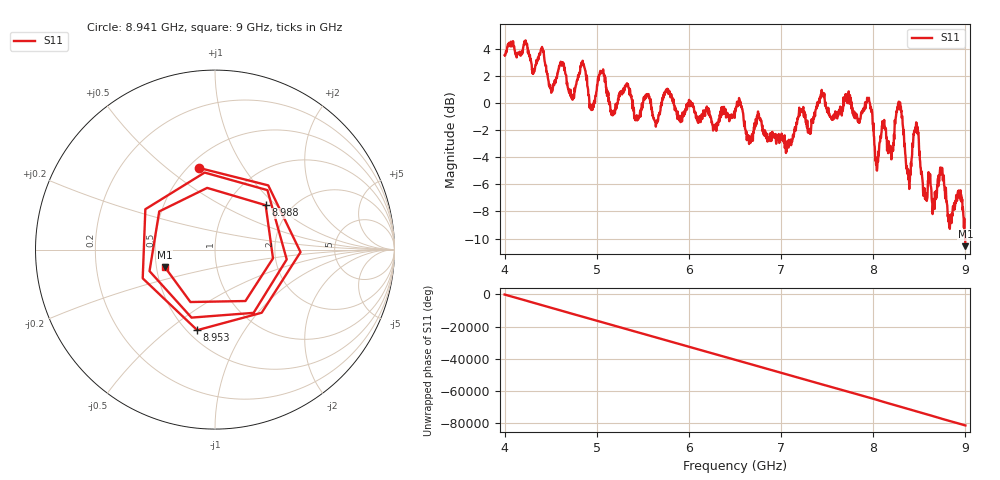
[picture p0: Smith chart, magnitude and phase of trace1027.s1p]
! Created with skrf 1.8.0 (http://scikit-rf.org).
# Hz S RI R 50.0
!freq ReS11 ImS11
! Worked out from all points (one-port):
!   1601 points, 4 GHz to 9 GHz, reference 50 ohm
!   lowest |S11| = -10.6 dB at 9 GHz (marker M1), VSWR 1.84, Z = 27.7 - j5.84 ohm
!   |S11| at or under -10 dB: 8.997703 GHz to end of sweep
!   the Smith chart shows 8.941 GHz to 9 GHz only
!   S11 on the Smith chart (normalised r, x): 8.941 GHz: 0.57, +0.65; 8.953 GHz: 0.56, -0.64; 8.988 GHz: 1.49, +0.86; 9 GHz: 0.55, -0.12
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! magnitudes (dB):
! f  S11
! 4 GHz  3.6
! 4.403 GHz  4.0
! 4.506 GHz  0.8
! 4.625 GHz  3.0
! 4.731 GHz  0.6
! 4.853 GHz  3.0
! 4.944 GHz  -0.5
! 5.047 GHz  2.2
! 5.172 GHz  -0.8
! 5.25 GHz  0.5
! 5.875 GHz  -1.2
! 6.5 GHz  -0.5
! 7.125 GHz  -2.7
! 7.447 GHz  0.7
! 7.75 GHz  0.0
! 7.959 GHz  0.1
! 8.038 GHz  -5.0
! 8.197 GHz  -4.1
! 8.288 GHz  -0.2
! 8.375 GHz  -5.2
! 8.466 GHz  -1.4
! 8.562 GHz  -7.1
! 8.744 GHz  -4.8
! 8.834 GHz  -8.8
! 8.941 GHz  -6.7
! 8.953 GHz  -6.8
! 8.988 GHz  -8.5
! 9 GHz  -10.6
